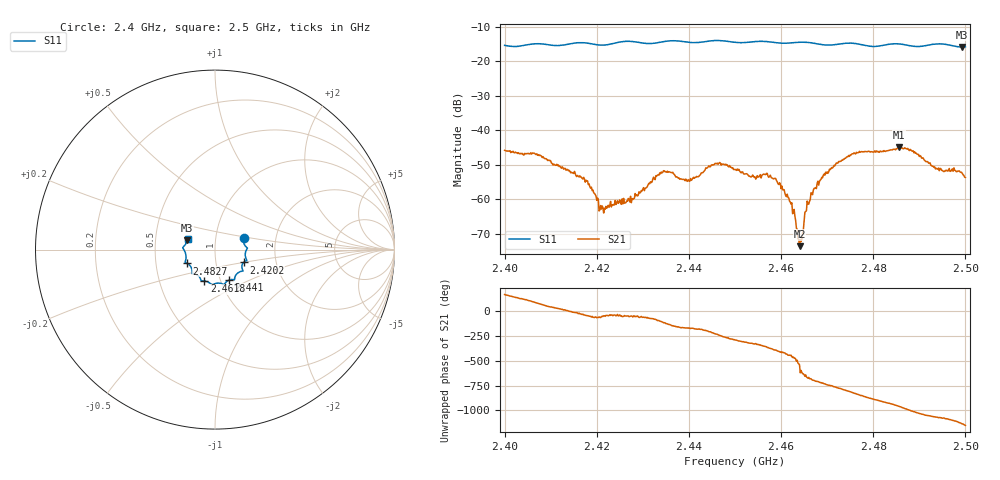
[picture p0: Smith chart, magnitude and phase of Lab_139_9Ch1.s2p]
# Hz S RI R 50
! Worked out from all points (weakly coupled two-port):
!   601 points, 2.4 GHz to 2.5 GHz, reference 50 ohm
!   highest |S21| = -44.90 dB at 2.4855 GHz (marker M1); lowest = -73.6 dB at 2.464 GHz (marker M2)
!   lowest |S11| = -15.8 dB at 2.4993 GHz (marker M3), VSWR 1.39, Z = 36.5 + j3.8 ohm
!   |S11| at or under -10 dB: start of sweep to end of sweep
!   S12 and S22 are empty: the file has one direction only
!   S11 on the Smith chart (normalised r, x): 2.4 GHz: 1.37, +0.18; 2.4202 GHz: 1.36, -0.20; 2.441 GHz: 1.10, -0.39; 2.4618 GHz: 0.84, -0.30; 2.4827 GHz: 0.72, -0.12; 2.5 GHz: 0.73, +0.09
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2.4e9  0.159 0.0629  -0.00507 0.000901  0 0  0 0
2.4075e9  0.1806 0.00751  0.001 0.0042  0 0  0 0
2.416667e9  0.1774 -0.0609  0.00184 -0.00101  0 0  0 0
2.420167e9  0.1588 -0.0716  0.000512 -0.000918  0 0  0 0
2.421e9  0.1538 -0.0781  0.000412 -0.000594  0 0  0 0
2.427667e9  0.1539 -0.1197  0.000665 -0.000785  0 0  0 0
2.433333e9  0.1118 -0.1507  -0.000104 -0.00227  0 0  0 0
2.441e9  0.0788 -0.1699  -0.00208 -0.000245  0 0  0 0
2.446167e9  0.0495 -0.1955  -0.00207 0.00264  0 0  0 0
2.45e9  0.0287 -0.1874  0.000909 0.00255  0 0  0 0
2.457333e9  -0.0213 -0.1919  0.00206 -0.000359  0 0  0 0
2.461833e9  -0.0591 -0.1756  0.000127 -0.000937  0 0  0 0
2.464e9  -0.0737 -0.1752  -0.00021 8.06e-07  0 0  0 0
2.4645e9  -0.0752 -0.1749  -6.28e-05 0.000256  0 0  0 0
2.466667e9  -0.0788 -0.1683  0.00107 0.000596  0 0  0 0
2.469333e9  -0.0896 -0.149  0.00228 -0.000507  0 0  0 0
2.474667e9  -0.1268 -0.1342  0.000222 -0.00433  0 0  0 0
2.482667e9  -0.1561 -0.0772  -0.00461 0.0018  0 0  0 0
2.483333e9  -0.1604 -0.0751  -0.00448 0.00252  0 0  0 0
2.4855e9  -0.1659 -0.0692  -0.00293 0.00488  0 0  0 0
2.499333e9  -0.1541 0.0507  0.00125 -0.00202  0 0  0 0
2.5e9  -0.152 0.06  0.000573 -0.002  0 0  0 0
